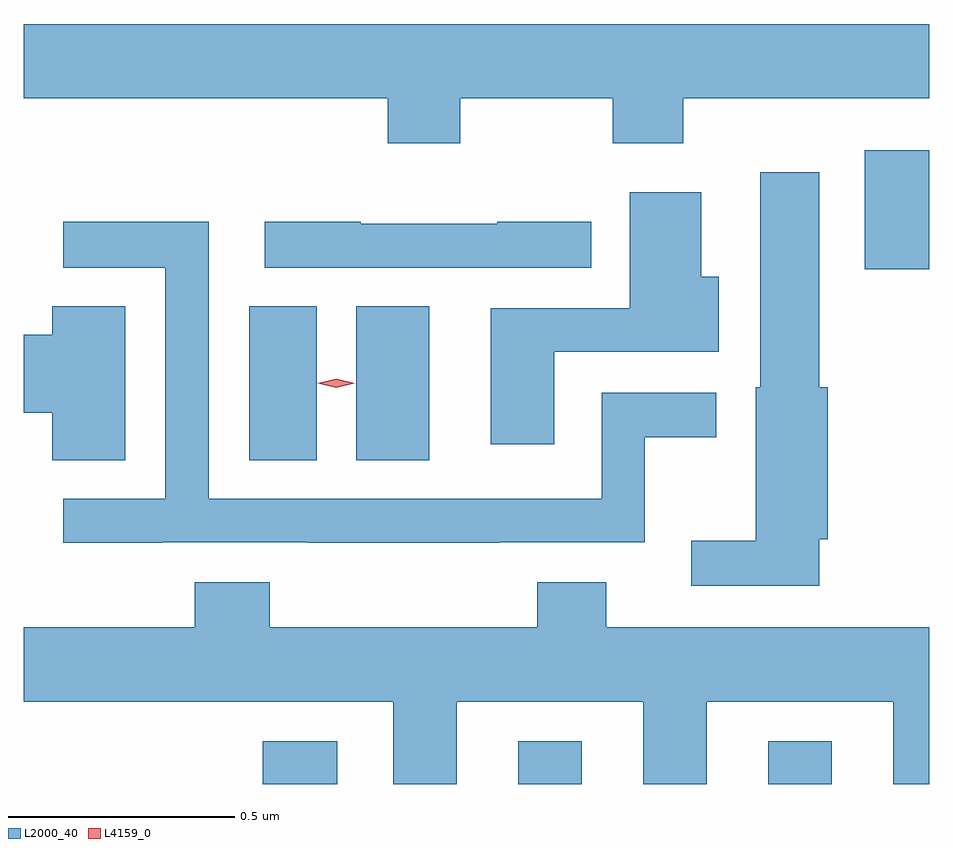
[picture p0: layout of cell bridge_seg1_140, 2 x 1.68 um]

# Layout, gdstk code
import gdstk
lib = gdstk.Library(unit=1e-6, precision=1e-09)
def R(c, l, rs):  # rectangles x0, y0, x1, y1
    for r in rs: c.add(gdstk.rectangle(r[:2], r[2:], *l))
def P(c, l, *ps):  # polygons
    for p in ps: c.add(gdstk.Polygon(p, *l))
L2000_40 = (2000, 40)
L4159_0 = (4159, 0)

bridge_seg1_140 = lib.new_cell('bridge_seg1_140')
R(bridge_seg1_140, L2000_40, [(493.259,555.546,493.423,555.64), (493.823,555.546,493.963,555.64), (494.375,555.546,494.515,555.64), (493.229,556.261,493.378,556.601), (493.466,556.261,493.627,556.601), (494.588,556.682,494.731,556.945)])
P(bridge_seg1_140, L2000_40, [(492.731,557.06),(493.535,557.06),(493.535,556.961),(493.695,556.961),(493.695,557.06),(494.032,557.06),(494.032,556.961),(494.187,556.961),(494.187,557.06),(494.731,557.06),(494.731,557.224),(492.731,557.224)],
  [(494.488,556.086),(494.506,556.086),(494.506,556.422),(494.488,556.422),(494.488,556.897),(494.357,556.897),(494.357,556.422),(494.348,556.422),(494.348,556.083),(494.205,556.083),(494.205,555.984),(494.488,555.984)],
  [(493.903,556.5),(494.266,556.5),(494.266,556.666),(494.227,556.666),(494.227,556.852),(494.069,556.852),(494.069,556.596),(493.763,556.596),(493.763,556.296),(493.903,556.296)],
  [(493.984,556.787),(493.777,556.787),(493.777,556.783),(493.475,556.783),(493.475,556.787),(493.263,556.787),(493.263,556.686),(493.984,556.686)],
  [(493.037,556.08),(493.357,556.08),(493.357,556.079),(493.781,556.079),(493.781,556.08),(494.103,556.08),(494.103,556.312),(494.26,556.312),(494.26,556.41),(494.007,556.41),(494.007,556.176),(493.14,556.176),(493.14,556.787),(492.819,556.787),(492.819,556.686),(493.044,556.686),(493.044,556.176),(492.819,556.176),(492.819,556.079),(493.037,556.079)],
  [(492.955,556.601),(492.794,556.601),(492.794,556.538),(492.731,556.538),(492.731,556.366),(492.794,556.366),(492.794,556.261),(492.955,556.261)],
  [(493.687,555.728),(494.099,555.728),(494.099,555.546),(494.239,555.546),(494.239,555.728),(494.651,555.728),(494.651,555.546),(494.731,555.546),(494.731,555.892),(494.017,555.892),(494.017,555.991),(493.865,555.991),(493.865,555.892),(493.274,555.892),(493.274,555.991),(493.109,555.991),(493.109,555.892),(492.731,555.892),(492.731,555.728),(493.547,555.728),(493.547,555.546),(493.687,555.546)])
P(bridge_seg1_140, L4159_0, [(493.421,556.421),(493.381,556.431),(493.38,556.431),(493.381,556.431),(493.421,556.441),(493.462,556.431),(493.462,556.431),(493.462,556.431)])

lib.write_gds('bridge_seg1_140.gds')
